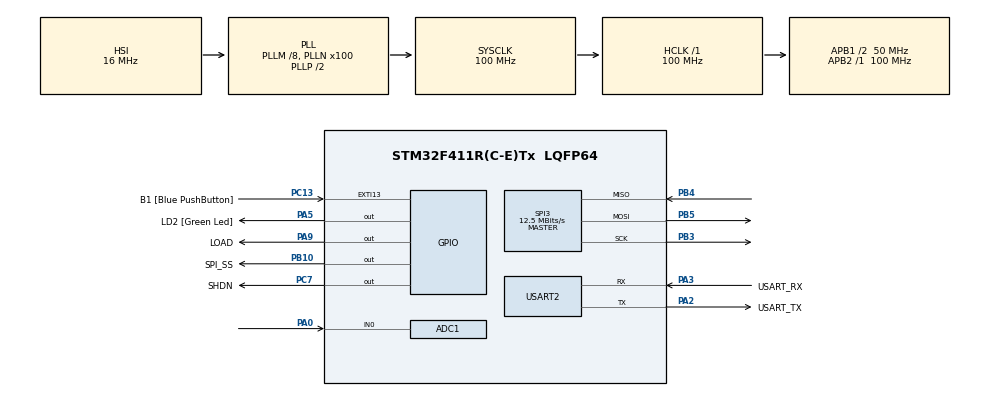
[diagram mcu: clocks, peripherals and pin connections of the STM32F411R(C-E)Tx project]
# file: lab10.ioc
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ADC1.Channel-0\#ChannelRegularConversion=ADC_CHANNEL_0
ADC1.ExternalTrigConv=ADC_EXTERNALTRIGCONV_T3_TRGO
ADC1.InjNumberOfConversion=0
ADC1.NbrOfConversionFlag=1
ADC1.Rank-0\#ChannelRegularConversion=1
ADC1.SamplingTime-0\#ChannelRegularConversion=ADC_SAMPLETIME_3CYCLES
ADC1.ScanConvMode=ENABLE
ADC1.master=1
Dma.ADC1.0.Direction=DMA_PERIPH_TO_MEMORY
Dma.ADC1.0.FIFOMode=DMA_FIFOMODE_DISABLE
Dma.ADC1.0.Instance=DMA2_Stream0
Dma.ADC1.0.MemDataAlignment=DMA_MDATAALIGN_HALFWORD
Dma.ADC1.0.MemInc=DMA_MINC_ENABLE
Dma.ADC1.0.Mode=DMA_CIRCULAR
Dma.ADC1.0.PeriphDataAlignment=DMA_PDATAALIGN_HALFWORD
Dma.ADC1.0.PeriphInc=DMA_PINC_DISABLE
Dma.ADC1.0.Priority=DMA_PRIORITY_LOW
Dma.Request0=ADC1
Mcu.Family=STM32F4
Mcu.Name=STM32F411R(C-E)Tx
Mcu.Package=LQFP64
NVIC.DMA2_Stream0_IRQn=true\:0\:0\:false\:false\:true\:false\:true
NVIC.PriorityGroup=NVIC_PRIORITYGROUP_0
NVIC.SPI3_IRQn=true\:0\:0\:false\:false\:true\:true\:true
NVIC.TIM1_TRG_COM_TIM11_IRQn=true\:0\:0\:false\:false\:true\:true\:true
NVIC.TIM3_IRQn=true\:0\:0\:false\:false\:true\:true\:true
NVIC.USART2_IRQn=true\:0\:0\:false\:false\:true\:true\:true
PA0-WKUP.Signal=ADCx_IN0
PA13.GPIO_Label=TMS
PA13.Mode=Serial_Wire
PA13.Signal=SYS_JTMS-SWDIO
PA14.GPIO_Label=TCK
PA14.Mode=Serial_Wire
PA14.Signal=SYS_JTCK-SWCLK
PA2.GPIO_Label=USART_TX
PA2.Mode=Asynchronous
PA2.Signal=USART2_TX
PA3.GPIO_Label=USART_RX
PA3.Mode=Asynchronous
PA3.Signal=USART2_RX
PA5.GPIO_Label=LD2 [Green Led]
PA5.Signal=GPIO_Output
PA9.GPIO_Label=LOAD
PA9.PinState=GPIO_PIN_SET
PA9.Signal=GPIO_Output
PB10.GPIO_Label=SPI_SS
PB10.PinState=GPIO_PIN_SET
PB10.Signal=GPIO_Output
PB3.Mode=Full_Duplex_Master
PB3.Signal=SPI3_SCK
PB4.Mode=Full_Duplex_Master
PB4.Signal=SPI3_MISO
PB5.Mode=Full_Duplex_Master
PB5.Signal=SPI3_MOSI
PC13-ANTI_TAMP.GPIO_Label=B1 [Blue PushButton]
PC13-ANTI_TAMP.GPIO_ModeDefaultEXTI=GPIO_MODE_IT_FALLING
PC13-ANTI_TAMP.Signal=GPXTI13
PC14-OSC32_IN.Mode=LSE-External-Oscillator
PC14-OSC32_IN.Signal=RCC_OSC32_IN
PC15-OSC32_OUT.Mode=LSE-External-Oscillator
PC15-OSC32_OUT.Signal=RCC_OSC32_OUT
PC7.GPIO_Label=SHDN
PC7.PinState=GPIO_PIN_SET
PC7.Signal=GPIO_Output
PH0\ -\ OSC_IN.Mode=HSE-External-Clock-Source
PH0\ -\ OSC_IN.Signal=RCC_OSC_IN
PH1\ -\ OSC_OUT.Mode=HSE-External-Clock-Source
PH1\ -\ OSC_OUT.Signal=RCC_OSC_OUT
ProjectManager.HeapSize=0x200
ProjectManager.StackSize=0x400
ProjectManager.TargetToolchain=STM32CubeIDE
RCC.48MHZClocksFreq_Value=50000000
RCC.AHBFreq_Value=100000000
RCC.APB1CLKDivider=RCC_HCLK_DIV2
RCC.APB1Freq_Value=50000000
RCC.APB1TimFreq_Value=100000000
RCC.APB2Freq_Value=100000000
RCC.APB2TimFreq_Value=100000000
RCC.CortexFreq_Value=100000000
RCC.FLatency-AdvancedSettings=FLASH_LATENCY_3
RCC.HCLKFreq_Value=100000000
RCC.HSE_VALUE=8000000
RCC.HSI_VALUE=16000000
RCC.PLLM=8
RCC.PLLN=100
RCC.SYSCLKFreq_VALUE=100000000
RCC.SYSCLKSource=RCC_SYSCLKSOURCE_PLLCLK
RCC.VCOOutputFreq_Value=200000000
SH.ADCx_IN0.0=ADC1_IN0,IN0
SPI3.BaudRatePrescaler=SPI_BAUDRATEPRESCALER_4
SPI3.CalculateBaudRate=12.5 MBits/s
SPI3.DataSize=SPI_DATASIZE_16BIT
SPI3.Direction=SPI_DIRECTION_2LINES
SPI3.Mode=SPI_MODE_MASTER
SPI3.VirtualType=VM_MASTER
TIM11.Prescaler=99
TIM3.Period=100
TIM3.Prescaler=99
USART2.VirtualMode=VM_ASYNC
VP_TIM11_VS_ClockSourceINT.Mode=Enable_Timer
VP_TIM3_VS_ClockSourceINT.Mode=Internal
board=NUCLEO-F411RE

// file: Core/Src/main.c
/* USER CODE BEGIN Header */
/**
 ******************************************************************************
 * @file           : main.c
 * @brief          : Main program body
 ******************************************************************************
 * @attention
 *
 * <h2><center>&copy; Copyright (c) 2021 STMicroelectronics.
 * All rights reserved.</center></h2>
 *
 * This software component is licensed by ST under BSD 3-Clause license,
 * the "License"; You may not use this file except in compliance with the
 * License. You may obtain a copy of the License at:
 *                        opensource.org/licenses/BSD-3-Clause
 *
 ******************************************************************************
 */
/* USER CODE END Header */
#include "main.h"

/* USER CODE BEGIN Includes */
#include <stdio.h>
#include <string.h>
#include <math.h>
/* USER CODE END Includes */

ADC_HandleTypeDef hadc1;
DMA_HandleTypeDef hdma_adc1;

SPI_HandleTypeDef hspi3;

TIM_HandleTypeDef htim3;
TIM_HandleTypeDef htim11;

UART_HandleTypeDef huart2;

/* USER CODE BEGIN PV */
uint16_t ADCin = 0;
uint64_t _micro = 0;
uint16_t dataOut = 0;
uint8_t DACConfig = 0b0011;

char TxDataBuffer[256] = { 0 };
char RxDataBuffer[35] = { 0 };
int16_t inputchar = 0;
uint16_t timestamp = 0;
float Hz = 0;
float Vhigh = 0;
float Vlow = 0;
uint16_t invert = 0;
uint16_t dutycycle = 0;
float output = 0;
/* USER CODE END PV */

void SystemClock_Config(void);
static void MX_GPIO_Init(void);
static void MX_DMA_Init(void);
static void MX_USART2_UART_Init(void);
static void MX_ADC1_Init(void);
static void MX_SPI3_Init(void);
static void MX_TIM3_Init(void);
static void MX_TIM11_Init(void);
/* USER CODE BEGIN PFP */
void MCP4922SetOutput(uint8_t Config, uint16_t DACOutput);
void UART();
int16_t UARTRecieveIT();
uint64_t micros();
uint8_t state = 0;
/* USER CODE END PFP */

int main(void) {

	/* MCU Configuration--------------------------------------------------------*/

	/* Reset of all peripherals, Initializes the Flash interface and the Systick. */
	HAL_Init();

	/* Configure the system clock */
	SystemClock_Config();

	/* Initialize all configured peripherals */
	MX_GPIO_Init();
	MX_DMA_Init();
	MX_USART2_UART_Init();
	MX_ADC1_Init();
	MX_SPI3_Init();
	MX_TIM3_Init();
	MX_TIM11_Init();
	/* USER CODE BEGIN 2 */
	HAL_TIM_Base_Start(&htim3);
	HAL_TIM_Base_Start_IT(&htim11);
	HAL_ADC_Start_DMA(&hadc1, (uint32_t*) &ADCin, 1);

	HAL_GPIO_WritePin(LOAD_GPIO_Port, LOAD_Pin, GPIO_PIN_RESET);
	sprintf(TxDataBuffer,
			" 1.sawtooth \n\r 2.Sine wave \n\r 3.Square Wave \n\r");
	HAL_UART_Transmit(&huart2, (uint8_t*) TxDataBuffer, strlen(TxDataBuffer),
			1000);

	/* USER CODE END 2 */

	/* Infinite loop */
	/* USER CODE BEGIN WHILE */
	while (1) {
			static uint64_t timestamp = 0;
		if (micros() - timestamp > ((1.0 / Hz * 1000000) / 4095)) {
			timestamp = micros();
			dataOut++;
			dataOut %= 4096;
			if (state == 2 ) {
				output = dataOut;
				if(invert == 1 ){
					output = 4096- dataOut;
				}
				output = ((Vhigh - Vlow) * ((float)dataOut / 4095)) + Vlow;
				output = output / 3.3;
				output = output*4095;
			} else if (state == 3) {
				output = sin(((float)dataOut / 4095) * 2 * M_PI);
				output = output * (4095/2)+(4095/2);
				output = ((Vhigh - Vlow) * ((float)output / 4095)) + Vlow;
				output = output / 3.3;
				output = output * 4095;
			} else if (state == 4) {
				if (((float) dataOut / 4095) * 100 <= dutycycle) {
					output = 4095;

				} else {
					output = 0;
				}
				output = ((Vhigh - Vlow) * ((float)output / 4096)) + Vlow;
				output = output / 3.3;
				output = output * 4096;

			}
			if (hspi3.State == HAL_SPI_STATE_READY
					&& HAL_GPIO_ReadPin(SPI_SS_GPIO_Port, SPI_SS_Pin)
							== GPIO_PIN_SET) {
					MCP4922SetOutput(DACConfig, (uint16_t)output);

			}
		}

		UART();
		/* USER CODE END WHILE */

	}
}

void SystemClock_Config(void) {
	RCC_OscInitTypeDef RCC_OscInitStruct = { 0 };
	RCC_ClkInitTypeDef RCC_ClkInitStruct = { 0 };

	/** Configure the main internal regulator output voltage
	 */
	__HAL_RCC_PWR_CLK_ENABLE();
	__HAL_PWR_VOLTAGESCALING_CONFIG(PWR_REGULATOR_VOLTAGE_SCALE1);
	/** Initializes the RCC Oscillators according to the specified parameters
	 * in the RCC_OscInitTypeDef structure.
	 */
	RCC_OscInitStruct.OscillatorType = RCC_OSCILLATORTYPE_HSI;
	RCC_OscInitStruct.HSIState = RCC_HSI_ON;
	RCC_OscInitStruct.HSICalibrationValue = RCC_HSICALIBRATION_DEFAULT;
	RCC_OscInitStruct.PLL.PLLState = RCC_PLL_ON;
	RCC_OscInitStruct.PLL.PLLSource = RCC_PLLSOURCE_HSI;
	RCC_OscInitStruct.PLL.PLLM = 8;
	RCC_OscInitStruct.PLL.PLLN = 100;
	RCC_OscInitStruct.PLL.PLLP = RCC_PLLP_DIV2;
	RCC_OscInitStruct.PLL.PLLQ = 4;
	if (HAL_RCC_OscConfig(&RCC_OscInitStruct) != HAL_OK) {
		Error_Handler();
	}
	/** Initializes the CPU, AHB and APB buses clocks
	 */
	RCC_ClkInitStruct.ClockType = RCC_CLOCKTYPE_HCLK | RCC_CLOCKTYPE_SYSCLK
			| RCC_CLOCKTYPE_PCLK1 | RCC_CLOCKTYPE_PCLK2;
	RCC_ClkInitStruct.SYSCLKSource = RCC_SYSCLKSOURCE_PLLCLK;
	RCC_ClkInitStruct.AHBCLKDivider = RCC_SYSCLK_DIV1;
	RCC_ClkInitStruct.APB1CLKDivider = RCC_HCLK_DIV2;
	RCC_ClkInitStruct.APB2CLKDivider = RCC_HCLK_DIV1;

	if (HAL_RCC_ClockConfig(&RCC_ClkInitStruct, FLASH_LATENCY_3) != HAL_OK) {
		Error_Handler();
	}
}

static void MX_ADC1_Init(void) {

	ADC_ChannelConfTypeDef sConfig = { 0 };

	/** Configure the global features of the ADC (Clock, Resolution, Data Alignment and number of conversion)
	 */
	hadc1.Instance = ADC1;
	hadc1.Init.ClockPrescaler = ADC_CLOCK_SYNC_PCLK_DIV4;
	hadc1.Init.Resolution = ADC_RESOLUTION_12B;
	hadc1.Init.ScanConvMode = ENABLE;
	hadc1.Init.ContinuousConvMode = DISABLE;
	hadc1.Init.DiscontinuousConvMode = DISABLE;
	hadc1.Init.ExternalTrigConvEdge = ADC_EXTERNALTRIGCONVEDGE_RISING;
	hadc1.Init.ExternalTrigConv = ADC_EXTERNALTRIGCONV_T3_TRGO;
	hadc1.Init.DataAlign = ADC_DATAALIGN_RIGHT;
	hadc1.Init.NbrOfConversion = 1;
	hadc1.Init.DMAContinuousRequests = DISABLE;
	hadc1.Init.EOCSelection = ADC_EOC_SINGLE_CONV;
	if (HAL_ADC_Init(&hadc1) != HAL_OK) {
		Error_Handler();
	}
	/** Configure for the selected ADC regular channel its corresponding rank in the sequencer and its sample time.
	 */
	sConfig.Channel = ADC_CHANNEL_0;
	sConfig.Rank = 1;
	sConfig.SamplingTime = ADC_SAMPLETIME_3CYCLES;
	if (HAL_ADC_ConfigChannel(&hadc1, &sConfig) != HAL_OK) {
		Error_Handler();
	}

}

static void MX_SPI3_Init(void) {

	/* SPI3 parameter configuration*/
	hspi3.Instance = SPI3;
	hspi3.Init.Mode = SPI_MODE_MASTER;
	hspi3.Init.Direction = SPI_DIRECTION_2LINES;
	hspi3.Init.DataSize = SPI_DATASIZE_16BIT;
	hspi3.Init.CLKPolarity = SPI_POLARITY_LOW;
	hspi3.Init.CLKPhase = SPI_PHASE_1EDGE;
	hspi3.Init.NSS = SPI_NSS_SOFT;
	hspi3.Init.BaudRatePrescaler = SPI_BAUDRATEPRESCALER_4;
	hspi3.Init.FirstBit = SPI_FIRSTBIT_MSB;
	hspi3.Init.TIMode = SPI_TIMODE_DISABLE;
	hspi3.Init.CRCCalculation = SPI_CRCCALCULATION_DISABLE;
	hspi3.Init.CRCPolynomial = 10;
	if (HAL_SPI_Init(&hspi3) != HAL_OK) {
		Error_Handler();
	}

}

static void MX_TIM3_Init(void) {

	TIM_ClockConfigTypeDef sClockSourceConfig = { 0 };
	TIM_MasterConfigTypeDef sMasterConfig = { 0 };

	htim3.Instance = TIM3;
	htim3.Init.Prescaler = 99;
	htim3.Init.CounterMode = TIM_COUNTERMODE_UP;
	htim3.Init.Period = 100;
	htim3.Init.ClockDivision = TIM_CLOCKDIVISION_DIV1;
	htim3.Init.AutoReloadPreload = TIM_AUTORELOAD_PRELOAD_DISABLE;
	if (HAL_TIM_Base_Init(&htim3) != HAL_OK) {
		Error_Handler();
	}
	sClockSourceConfig.ClockSource = TIM_CLOCKSOURCE_INTERNAL;
	if (HAL_TIM_ConfigClockSource(&htim3, &sClockSourceConfig) != HAL_OK) {
		Error_Handler();
	}
	sMasterConfig.MasterOutputTrigger = TIM_TRGO_RESET;
	sMasterConfig.MasterSlaveMode = TIM_MASTERSLAVEMODE_DISABLE;
	if (HAL_TIMEx_MasterConfigSynchronization(&htim3, &sMasterConfig)
			!= HAL_OK) {
		Error_Handler();
	}

}

static void MX_TIM11_Init(void) {

	htim11.Instance = TIM11;
	htim11.Init.Prescaler = 99;
	htim11.Init.CounterMode = TIM_COUNTERMODE_UP;
	htim11.Init.Period = 65535;
	htim11.Init.ClockDivision = TIM_CLOCKDIVISION_DIV1;
	htim11.Init.AutoReloadPreload = TIM_AUTORELOAD_PRELOAD_DISABLE;
	if (HAL_TIM_Base_Init(&htim11) != HAL_OK) {
		Error_Handler();
	}

}

static void MX_USART2_UART_Init(void) {

	huart2.Instance = USART2;
	huart2.Init.BaudRate = 115200;
	huart2.Init.WordLength = UART_WORDLENGTH_8B;
	huart2.Init.StopBits = UART_STOPBITS_1;
	huart2.Init.Parity = UART_PARITY_NONE;
	huart2.Init.Mode = UART_MODE_TX_RX;
	huart2.Init.HwFlowCtl = UART_HWCONTROL_NONE;
	huart2.Init.OverSampling = UART_OVERSAMPLING_16;
	if (HAL_UART_Init(&huart2) != HAL_OK) {
		Error_Handler();
	}

}

static void MX_DMA_Init(void) {

	/* DMA controller clock enable */
	__HAL_RCC_DMA2_CLK_ENABLE();

	/* DMA interrupt init */
	/* DMA2_Stream0_IRQn interrupt configuration */
	HAL_NVIC_SetPriority(DMA2_Stream0_IRQn, 0, 0);
	HAL_NVIC_EnableIRQ(DMA2_Stream0_IRQn);

}

static void MX_GPIO_Init(void) {
	GPIO_InitTypeDef GPIO_InitStruct = { 0 };

	/* GPIO Ports Clock Enable */
	__HAL_RCC_GPIOC_CLK_ENABLE();
	__HAL_RCC_GPIOH_CLK_ENABLE();
	__HAL_RCC_GPIOA_CLK_ENABLE();
	__HAL_RCC_GPIOB_CLK_ENABLE();

	/*Configure GPIO pin Output Level */
	HAL_GPIO_WritePin(LD2_GPIO_Port, LD2_Pin, GPIO_PIN_RESET);

	/*Configure GPIO pin Output Level */
	HAL_GPIO_WritePin(SPI_SS_GPIO_Port, SPI_SS_Pin, GPIO_PIN_SET);

	/*Configure GPIO pin Output Level */
	HAL_GPIO_WritePin(SHDN_GPIO_Port, SHDN_Pin, GPIO_PIN_SET);

	/*Configure GPIO pin Output Level */
	HAL_GPIO_WritePin(LOAD_GPIO_Port, LOAD_Pin, GPIO_PIN_SET);

	/*Configure GPIO pin : B1_Pin */
	GPIO_InitStruct.Pin = B1_Pin;
	GPIO_InitStruct.Mode = GPIO_MODE_IT_FALLING;
	GPIO_InitStruct.Pull = GPIO_NOPULL;
	HAL_GPIO_Init(B1_GPIO_Port, &GPIO_InitStruct);

	/*Configure GPIO pins : LD2_Pin LOAD_Pin */
	GPIO_InitStruct.Pin = LD2_Pin | LOAD_Pin;
	GPIO_InitStruct.Mode = GPIO_MODE_OUTPUT_PP;
	GPIO_InitStruct.Pull = GPIO_NOPULL;
	GPIO_InitStruct.Speed = GPIO_SPEED_FREQ_LOW;
	HAL_GPIO_Init(GPIOA, &GPIO_InitStruct);

	/*Configure GPIO pin : SPI_SS_Pin */
	GPIO_InitStruct.Pin = SPI_SS_Pin;
	GPIO_InitStruct.Mode = GPIO_MODE_OUTPUT_PP;
	GPIO_InitStruct.Pull = GPIO_NOPULL;
	GPIO_InitStruct.Speed = GPIO_SPEED_FREQ_LOW;
	HAL_GPIO_Init(SPI_SS_GPIO_Port, &GPIO_InitStruct);

	/*Configure GPIO pin : SHDN_Pin */
	GPIO_InitStruct.Pin = SHDN_Pin;
	GPIO_InitStruct.Mode = GPIO_MODE_OUTPUT_PP;
	GPIO_InitStruct.Pull = GPIO_NOPULL;
	GPIO_InitStruct.Speed = GPIO_SPEED_FREQ_LOW;
	HAL_GPIO_Init(SHDN_GPIO_Port, &GPIO_InitStruct);

}

/* USER CODE BEGIN 4 */
void MCP4922SetOutput(uint8_t Config, uint16_t DACOutput) {
	uint32_t OutputPacket = (DACOutput & 0x0fff) | ((Config & 0xf) << 12);
	HAL_GPIO_WritePin(SPI_SS_GPIO_Port, SPI_SS_Pin, GPIO_PIN_RESET);
	HAL_SPI_Transmit_IT(&hspi3, &OutputPacket, 1);
}

void HAL_SPI_TxCpltCallback(SPI_HandleTypeDef *hspi) {
	if (hspi == &hspi3) {
		HAL_GPIO_WritePin(SPI_SS_GPIO_Port, SPI_SS_Pin, GPIO_PIN_SET);
	}
}

void HAL_TIM_PeriodElapsedCallback(TIM_HandleTypeDef *htim) {
	if (htim == &htim11) {
		_micro += 65535;
	}
}

inline uint64_t micros() {
	return htim11.Instance->CNT + _micro;
}

void UART() {
	HAL_UART_Receive_IT(&huart2, (uint8_t*) RxDataBuffer, 32);
	inputchar = UARTRecieveIT();
	if (inputchar != -1) {
		if (state == 0) {
			sprintf(TxDataBuffer,
					" 1.sawtooth \n\r 2.Sine wave \n\r 3.Square Wave \n\r");
			HAL_UART_Transmit(&huart2, (uint8_t*) TxDataBuffer,
					strlen(TxDataBuffer), 1000);
			state = 1;
		} else if (state == 1) {
			if (inputchar == '1') {
				sprintf(TxDataBuffer,
						" a.HZ + 1\n\r s.HZ - 1 \n\r d.V high + \n\r f.V high - \n\r g. V low + \n\r h. V low - \n\r j. invert \n\r");
				HAL_UART_Transmit(&huart2, (uint8_t*) TxDataBuffer,
						strlen(TxDataBuffer), 1000);
				state = 2;
			} else if (inputchar == '2') {
				sprintf(TxDataBuffer,
						" a.HZ + 1\n\r s.HZ - 1 \n\r d.V high + \n\r f.V high- \n\r g. V low + \n\r h. V low - \n\r ");
				HAL_UART_Transmit(&huart2, (uint8_t*) TxDataBuffer,
						strlen(TxDataBuffer), 1000);
				state = 3;
			} else if (inputchar == '3') {
				sprintf(TxDataBuffer,
						" a.HZ + 1\n\r s.HZ - 1 \n\r d.V high + \n\r f.V high - \n\r g. V low + \n\r h. V low - \n\r j. duty cycle + \n\r k. duty cycle - \n\r ");
				HAL_UART_Transmit(&huart2, (uint8_t*) TxDataBuffer,
						strlen(TxDataBuffer), 1000);
				state = 4;
			} else if (inputchar == 'x') {
				state = 0;

			}
		} else if (state == 2) {
			if (inputchar == 'a') {
				if (Hz >= 10) {
					Hz = 10;
					sprintf(TxDataBuffer, "Hz : 10 \r\n");
					HAL_UART_Transmit(&huart2, (uint8_t*) TxDataBuffer,
							strlen(TxDataBuffer), 1000);
				}
				Hz = Hz + 0.1;
				sprintf(TxDataBuffer, "Hz :[%d].[%d]\r\n", (uint8_t) Hz,
						(uint8_t) (Hz * 10) % 10);
				HAL_UART_Transmit(&huart2, (uint8_t*) TxDataBuffer,
						strlen(TxDataBuffer), 1000);
			} else if (inputchar == 's') {

				if (Hz <= 0) {
					Hz = 0;
					sprintf(TxDataBuffer, "Hz : 0 \r\n");
					HAL_UART_Transmit(&huart2, (uint8_t*) TxDataBuffer,
							strlen(TxDataBuffer), 1000);
				} else if (Hz > 0) {
					Hz = Hz - 0.1;
					sprintf(TxDataBuffer, "Hz :[%d].[%d]\r\n", (uint8_t) Hz,
							(uint8_t) (Hz * 10) % 10);
					HAL_UART_Transmit(&huart2, (uint8_t*) TxDataBuffer,
							strlen(TxDataBuffer), 1000);
				}
			}

			else if (inputchar == 'd') {
				if (Vhigh >= 3.3) {
					Vhigh = 3.3;
					sprintf(TxDataBuffer, "Vhigh : 3.3 1\r\n");
					HAL_UART_Transmit(&huart2, (uint8_t*) TxDataBuffer,
							strlen(TxDataBuffer), 1000);
				}
				Vhigh = Vhigh + 0.1;
				sprintf(TxDataBuffer, "Vhigh :[%d].[%d] 2\r\n", (uint8_t) Vhigh,
						(uint8_t) (Vhigh * 10) % 10);
				HAL_UART_Transmit(&huart2, (uint8_t*) TxDataBuffer,
						strlen(TxDataBuffer), 1000);

			} else if (inputchar == 'f') {
				if (Vhigh <= 0) {
					Vhigh = 0;
					sprintf(TxDataBuffer, "Vhigh : 0 3\r\n");
					HAL_UART_Transmit(&huart2, (uint8_t*) TxDataBuffer,
							strlen(TxDataBuffer), 1000);
				} else if (Vhigh > 0) {
					Vhigh = Vhigh - 0.1;
					sprintf(TxDataBuffer, "Vhigh :[%d].[%d] 4\r\n",
							(uint8_t) Vhigh, (uint8_t) (Vhigh * 10) % 10);
					HAL_UART_Transmit(&huart2, (uint8_t*) TxDataBuffer,
							strlen(TxDataBuffer), 1000);

				}
			} else if (inputchar == 'g') {
				if (Vlow >= 0) {
					Vlow = 0;
					sprintf(TxDataBuffer, "Vlow : 10 5\r\n");
					HAL_UART_Transmit(&huart2, (uint8_t*) TxDataBuffer,
							strlen(TxDataBuffer), 1000);
				}
				Vlow = Vlow + 0.1;
				sprintf(TxDataBuffer, "Vlow :[%d].[%d]6\r\n", (uint8_t) Vlow,
						(uint8_t) (Vlow * 10) % 10);
				HAL_UART_Transmit(&huart2, (uint8_t*) TxDataBuffer,
						strlen(TxDataBuffer), 1000);

			} else if (inputchar == 'h') {

				if (Vlow <= 0) {
					Vlow = 0;
					sprintf(TxDataBuffer, "Vlow : 0 7\r\n");
					HAL_UART_Transmit(&huart2, (uint8_t*) TxDataBuffer,
							strlen(TxDataBuffer), 1000);
				} else if (Vlow > 0) {
					Vlow = Vlow - 0.1;
					sprintf(TxDataBuffer, "Vlow :[%d].[%d] 8\r\n",
							(uint8_t) Vlow, (uint8_t) (Vlow * 10) % 10);
					HAL_UART_Transmit(&huart2, (uint8_t*) TxDataBuffer,
							strlen(TxDataBuffer), 1000);
				}

			} else if (inputchar == 'j') {

				invert = 1;

			} else if (inputchar == 'x') {
				state = 0;
			}

		} else if (state == 3) {
			if (inputchar == 'a') {
				if (Hz >= 10) {
					Hz = 10;
					sprintf(TxDataBuffer, "Hz : 10 \r\n");
					HAL_UART_Transmit(&huart2, (uint8_t*) TxDataBuffer,
							strlen(TxDataBuffer), 1000);
				}
				Hz = Hz + 0.1;
				sprintf(TxDataBuffer, "Hz :[%d].[%d]\r\n", (uint8_t) Hz,
						(uint8_t) (Hz * 10) % 10);
				HAL_UART_Transmit(&huart2, (uint8_t*) TxDataBuffer,
						strlen(TxDataBuffer), 1000);
			}

			else if (inputchar == 's') {
				if (Hz <= 0) {
					Hz = 0;
					sprintf(TxDataBuffer, "Hz : 0 \r\n");
					HAL_UART_Transmit(&huart2, (uint8_t*) TxDataBuffer,
							strlen(TxDataBuffer), 1000);
				} else if (Hz > 0) {
					Hz = Hz - 0.1;
					sprintf(TxDataBuffer, "Hz :[%d].[%d]\r\n", (uint8_t) Hz,
							(uint8_t) (Hz * 10) % 10);
					HAL_UART_Transmit(&huart2, (uint8_t*) TxDataBuffer,
							strlen(TxDataBuffer), 1000);
				}
			} else if (inputchar == 'd') {
				if (Vhigh >= 3.3) {
					Vhigh = 3.3;
					sprintf(TxDataBuffer, "Vhigh : 3.3 1\r\n");
					HAL_UART_Transmit(&huart2, (uint8_t*) TxDataBuffer,
							strlen(TxDataBuffer), 1000);
				}
				Vhigh = Vhigh + 0.1;
				sprintf(TxDataBuffer, "Vhigh :[%d].[%d] 2\r\n", (uint8_t) Vhigh,
						(uint8_t) (Vhigh * 10) % 10);
				HAL_UART_Transmit(&huart2, (uint8_t*) TxDataBuffer,
						strlen(TxDataBuffer), 1000);

			} else if (inputchar == 'f') {
				if (Vhigh <= 0) {
					Vhigh = 0;
					sprintf(TxDataBuffer, "Vhigh : 0 3\r\n");
					HAL_UART_Transmit(&huart2, (uint8_t*) TxDataBuffer,
							strlen(TxDataBuffer), 1000);
				} else if (Vhigh > 0) {
					Vhigh = Vhigh - 0.1;
					sprintf(TxDataBuffer, "Vhigh :[%d].[%d] 4\r\n",
							(uint8_t) Vhigh, (uint8_t) (Vhigh * 10) % 10);
					HAL_UART_Transmit(&huart2, (uint8_t*) TxDataBuffer,
							strlen(TxDataBuffer), 1000);

				}

			} else if (inputchar == 'g') {
				if (Vlow >= 10) {
					Vlow = 10;
					sprintf(TxDataBuffer, "Vlow : 10 5\r\n");
					HAL_UART_Transmit(&huart2, (uint8_t*) TxDataBuffer,
							strlen(TxDataBuffer), 1000);
				}
				Vlow = Vlow + 0.1;
				sprintf(TxDataBuffer, "Vlow :[%d].[%d]6\r\n", (uint8_t) Vlow,
						(uint8_t) (Vlow * 10) % 10);
				HAL_UART_Transmit(&huart2, (uint8_t*) TxDataBuffer,
						strlen(TxDataBuffer), 1000);

			} else if (inputchar == 'h') {

				if (Vlow <= 0) {
					Vlow = 0;
					sprintf(TxDataBuffer, "Vlow : 0 7\r\n");
					HAL_UART_Transmit(&huart2, (uint8_t*) TxDataBuffer,
							strlen(TxDataBuffer), 1000);
				} else if (Vlow > 0) {
					Vlow = Vlow - 0.1;
					sprintf(TxDataBuffer, "Vlow :[%d].[%d] 8\r\n",
							(uint8_t) Vlow, (uint8_t) (Vlow * 10) % 10);
					HAL_UART_Transmit(&huart2, (uint8_t*) TxDataBuffer,
							strlen(TxDataBuffer), 1000);
				}

			} else if (inputchar == 'x') {
				state = 0;
			}

		}

		else if (state == 4) {
			if (inputchar == 'a') {
				if (Hz >= 10) {
					Hz = 10;
					sprintf(TxDataBuffer, "Hz : 10 \r\n");
					HAL_UART_Transmit(&huart2, (uint8_t*) TxDataBuffer,
							strlen(TxDataBuffer), 1000);
				}
				Hz = Hz + 0.1;
				sprintf(TxDataBuffer, "Hz :[%d].[%d]\r\n", (uint8_t) Hz,
						(uint8_t) (Hz * 10) % 10);
				HAL_UART_Transmit(&huart2, (uint8_t*) TxDataBuffer,
						strlen(TxDataBuffer), 1000);
			} else if (inputchar == 's') {
				if (Hz <= 0) {
					Hz = 0;
					sprintf(TxDataBuffer, "Hz : 0 \r\n");
					HAL_UART_Transmit(&huart2, (uint8_t*) TxDataBuffer,
							strlen(TxDataBuffer), 1000);
				} else if (Hz > 0) {
					Hz = Hz - 0.1;
					sprintf(TxDataBuffer, "Hz :[%d].[%d]\r\n", (uint8_t) Hz,
							(uint8_t) (Hz * 10) % 10);
					HAL_UART_Transmit(&huart2, (uint8_t*) TxDataBuffer,
							strlen(TxDataBuffer), 1000);
				}
			} else if (inputchar == 'd') {
				if (Vhigh >= 3.3) {
					Vhigh = 3.3;
					sprintf(TxDataBuffer, "Vhigh : 3.3 1\r\n");
					HAL_UART_Transmit(&huart2, (uint8_t*) TxDataBuffer,
							strlen(TxDataBuffer), 1000);
				}
				Vhigh = Vhigh + 0.1;
				sprintf(TxDataBuffer, "Vhigh :[%d].[%d] 2\r\n", (uint8_t) Vhigh,
						(uint8_t) (Vhigh * 10) % 10);
				HAL_UART_Transmit(&huart2, (uint8_t*) TxDataBuffer,
						strlen(TxDataBuffer), 1000);

			} else if (inputchar == 'f') {
				if (Vhigh <= 0) {
					Vhigh = 0;
					sprintf(TxDataBuffer, "Vhigh : 0 3\r\n");
					HAL_UART_Transmit(&huart2, (uint8_t*) TxDataBuffer,
							strlen(TxDataBuffer), 1000);
				} else if (Vhigh > 0) {
					Vhigh = Vhigh - 0.1;
					sprintf(TxDataBuffer, "Vhigh :[%d].[%d] 4\r\n",
							(uint8_t) Vhigh, (uint8_t) (Vhigh * 10) % 10);
					HAL_UART_Transmit(&huart2, (uint8_t*) TxDataBuffer,
							strlen(TxDataBuffer), 1000);

				}

			} else if (inputchar == 'g') {
				if (Vlow >= 10) {
					Vlow = 10;
					sprintf(TxDataBuffer, "Vlow : 10 5\r\n");
					HAL_UART_Transmit(&huart2, (uint8_t*) TxDataBuffer,
							strlen(TxDataBuffer), 1000);
				}
				Vlow = Vlow + 0.1;
				sprintf(TxDataBuffer, "Vlow :[%d].[%d]6\r\n", (uint8_t) Vlow,
						(uint8_t) (Vlow * 10) % 10);
				HAL_UART_Transmit(&huart2, (uint8_t*) TxDataBuffer,
						strlen(TxDataBuffer), 1000);

			} else if (inputchar == 'h') {

				if (Vlow <= 0) {
					Vlow = 0;
					sprintf(TxDataBuffer, "Vlow : 0 7\r\n");
					HAL_UART_Transmit(&huart2, (uint8_t*) TxDataBuffer,
							strlen(TxDataBuffer), 1000);
				} else if (Vlow > 0) {
					Vlow = Vlow - 0.1;
					sprintf(TxDataBuffer, "Vlow :[%d].[%d] 8\r\n",
							(uint8_t) Vlow, (uint8_t) (Vlow * 10) % 10);
					HAL_UART_Transmit(&huart2, (uint8_t*) TxDataBuffer,
							strlen(TxDataBuffer), 1000);
				}

			} else if (inputchar == 'j') {
				if (dutycycle >= 100) {
					dutycycle = 100;
					sprintf(TxDataBuffer, "duty cycle : 100 9\r\n");
					HAL_UART_Transmit(&huart2, (uint8_t*) TxDataBuffer,
							strlen(TxDataBuffer), 1000);
				}
				dutycycle = dutycycle + 10;
				sprintf(TxDataBuffer, "duty cycle :[%d]\r\n",
						(uint8_t) dutycycle);
				HAL_UART_Transmit(&huart2, (uint8_t*) TxDataBuffer,
						strlen(TxDataBuffer), 1000);

			} else if (inputchar == 'k') {

				if (dutycycle <= 0) {
					dutycycle = 0;
					sprintf(TxDataBuffer, "duty cycle : 0 7\r\n");
					HAL_UART_Transmit(&huart2, (uint8_t*) TxDataBuffer,
							strlen(TxDataBuffer), 1000);
				} else if (dutycycle > 0) {
					dutycycle = dutycycle - 10;
					sprintf(TxDataBuffer, "duty cycle :[%d]\r\n",
							(uint8_t) dutycycle);
					HAL_UART_Transmit(&huart2, (uint8_t*) TxDataBuffer,
							strlen(TxDataBuffer), 1000);
				}

			}

			else if (inputchar == 'x') {
				state = 0;
			}
		}

	}
}

int16_t UARTRecieveIT() {
	static uint32_t dataPos = 0;
	int16_t data = -1;
	if (huart2.RxXferSize - huart2.RxXferCount != dataPos) {
		data = RxDataBuffer[dataPos];
		dataPos = (dataPos + 1) % huart2.RxXferSize;
	}
	return data;
}

/* USER CODE END 4 */

void Error_Handler(void) {
	__disable_irq();
	while (1) {
	}
}

/************************ (C) COPYRIGHT STMicroelectronics *****END OF FILE****/
